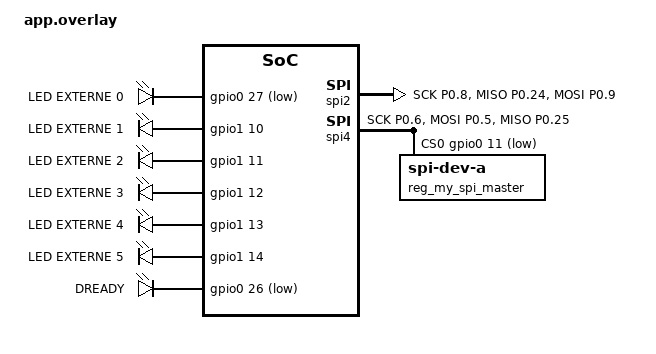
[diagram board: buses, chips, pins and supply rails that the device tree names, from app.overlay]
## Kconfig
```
#
# Copyright (c) 2018 Nordic Semiconductor
#
# SPDX-License-Identifier: LicenseRef-Nordic-5-Clause
#

source "Kconfig.zephyr"

menu "Nordic UART BLE GATT service sample"

config BT_NUS_THREAD_STACK_SIZE
	int "Thread stack size"
	default 1024
	help
	  Stack size used in each of the two threads

config BT_NUS_UART_BUFFER_SIZE
	int "UART payload buffer element size"
	default 40
	help
	  Size of the payload buffer in each RX and TX FIFO element

config BT_NUS_SECURITY_ENABLED
	bool "Enable security"
	default y
	select BT_SMP
	help
	  "Enable BLE security for the UART service"

config BT_NUS_UART_RX_WAIT_TIME
	int "Timeout for UART RX complete event"
	default 50
	help
	  Wait for RX complete event time in milliseconds

config BT_NUS_UART_ASYNC_ADAPTER
	bool "Enable UART async adapter"
	select SERIAL_SUPPORT_ASYNC
	help
	  Enables asynchronous adapter for UART drives that supports only
	  IRQ interface.
config COUNTER_RTC0
	bool
	default y if SOC_FAMILY_NRF

config COUNTER_SAM0_TC32
	bool
	default y if BOARD_ATSAMD20_XPRO
endmenu
```

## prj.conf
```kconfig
#
# Copyright (c) 2018 Nordic Semiconductor
#
# SPDX-License-Identifier: LicenseRef-Nordic-5-Clause
#
CONFIG_UART_ASYNC_API=y
CONFIG_NRFX_UARTE0=y
CONFIG_SERIAL=y

CONFIG_GPIO=y

# Make sure printk is printing to the UART console
CONFIG_CONSOLE=y
CONFIG_UART_CONSOLE=y

CONFIG_HEAP_MEM_POOL_SIZE=2048

CONFIG_BT=y
CONFIG_BT_PERIPHERAL=y
CONFIG_BT_DEVICE_NAME="Nordic_UART_Service"
CONFIG_BT_DEVICE_APPEARANCE=833
CONFIG_BT_MAX_CONN=1
CONFIG_BT_MAX_PAIRED=1

# Enable the NUS service
CONFIG_BT_NUS=y

# Enable bonding
CONFIG_BT_SETTINGS=y
CONFIG_FLASH=y
CONFIG_FLASH_PAGE_LAYOUT=y
CONFIG_FLASH_MAP=y
CONFIG_NVS=y
CONFIG_SETTINGS=y

# Enable DK LED and Buttons library
CONFIG_DK_LIBRARY=y

# This example requires more workqueue stack
CONFIG_SYSTEM_WORKQUEUE_STACK_SIZE=2048

# Config logger
CONFIG_LOG=y
CONFIG_USE_SEGGER_RTT=y
CONFIG_LOG_BACKEND_RTT=y
CONFIG_LOG_BACKEND_UART=n

CONFIG_ASSERT=y

# Enable the UART driver
CONFIG_UART_ASYNC_API=y
CONFIG_NRFX_UARTE0=y
CONFIG_SERIAL=y

CONFIG_GPIO=y

# Make sure printk is printing to the UART console
CONFIG_CONSOLE=y
CONFIG_UART_CONSOLE=y





# Enable DK LED and Buttons library
CONFIG_DK_LIBRARY=y

# This example requires more workqueue stack
CONFIG_SYSTEM_WORKQUEUE_STACK_SIZE=2048

# Config logger
CONFIG_LOG=y
CONFIG_USE_SEGGER_RTT=y
CONFIG_LOG_BACKEND_RTT=y
CONFIG_LOG_BACKEND_UART=n
CONFIG_LOG_PRINTK=n

CONFIG_ASSERT=y


# SPIM
CONFIG_SPI=y
CONFIG_NRFX_SPIM2=y

CONFIG_MAIN_STACK_SIZE=4096
```

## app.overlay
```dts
/*
 * Copyright (c) 2022 Nordic Semiconductor ASA
 *
 * SPDX-License-Identifier: LicenseRef-Nordic-5-Clause
 */

/ {
	chosen {
		nordic,nus-uart = &uart0;
	};
};

/ {
	aliases {
		ledext0 = &ledext0;
                ledext1 = &ledext1;
                ledext2 = &ledext2;
                ledext3 = &ledext3;
                ledext4 = &ledext4;
                ledext5 = &ledext5;
	};
};

/ {
	leds {
		  compatible = "gpio-leds";
		ledext0: led_ext0 {
			gpios = <&gpio0 27 GPIO_ACTIVE_LOW>; //d�finir le SPI reset sur le P1.02
			label = "LED EXTERNE 0";
					};
			ledext1: led_ext1 {
				gpios = <&gpio1 10 GPIO_ACTIVE_HIGH>; //d�finir le led externe 1 sur le P1.10
				label = "LED EXTERNE 1";
					};
	
			ledext2: led_ext2 {
				gpios = <&gpio1 11 GPIO_ACTIVE_HIGH>;
				label = "LED EXTERNE 2";
					};
	
			ledext3: led_ext3 {
				gpios = <&gpio1 12 GPIO_ACTIVE_HIGH>;
				label = "LED EXTERNE 3";
					};
	
			ledext4: led_ext4 {
				gpios = <&gpio1 13 GPIO_ACTIVE_HIGH>;
				label = "LED EXTERNE 4";
					};
	
			ledext5: led_ext5 {
				gpios = <&gpio1 14 GPIO_ACTIVE_HIGH>;
				label = "LED EXTERNE 5";
					};
			pinpwdn: pin_pwdn {
				gpios = <&gpio0 26 GPIO_ACTIVE_LOW>; //d�finir le power sur le P1.02
				label = "DREADY";
			};
		  };
	};


&pinctrl {
	spi_dummy: spi_dummy {
        group1 {
            psels = <NRF_PSEL(SPIM_SCK, 0, 8)>,
                <NRF_PSEL(SPIM_MISO, 0, 24)>,
                <NRF_PSEL(SPIM_MOSI, 0, 9)>;
        };
    };
	spi_dummy_sleep: spi_dummy_sleep {
        group1 {
            psels = <NRF_PSEL(SPIM_SCK, 0, 8)>,
                <NRF_PSEL(SPIM_MISO, 0, 24)>,
                <NRF_PSEL(SPIM_MOSI, 0, 9)>;
			low-power-enable;		
        };
    };
};

&spi2 {
	compatible = "nordic,nrf-spim";
	status = "okay";
	pinctrl-names = "default", "sleep";
	pinctrl-0 = <&spi_dummy>;
	pinctrl-1 = <&spi_dummy_sleep>;
};

&gpio0 {
	status = "okay";
	label = "GPIO_0";
};

&pinctrl {
	spi_master_default: spi_master_default {
		group1 {
			psels = <NRF_PSEL(SPIM_SCK, 0, 6)>,
					<NRF_PSEL(SPIM_MOSI, 0, 5)>,
					<NRF_PSEL(SPIM_MISO, 0, 25)>;
		};
	};

	spi_master_sleep: spi_master_sleep {
		group1 {
			psels = <NRF_PSEL(SPIM_SCK, 0, 6)>,
					<NRF_PSEL(SPIM_MOSI, 0, 5)>,
					<NRF_PSEL(SPIM_MISO, 0, 25)>;
			low-power-enable;
		};
	};
};

my_spi_master: &spi4 {
	compatible = "nordic,nrf-spim";
	status = "okay";
	pinctrl-0 = <&spi_master_default>;
	pinctrl-1 = <&spi_master_sleep>;
	cs-gpios = <&gpio0 11 GPIO_ACTIVE_LOW>;
	reg_my_spi_master:  spi-dev-a@0 {
		reg = <0>;
	};
};
```

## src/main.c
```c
/*
 * Copyright (c) 2018 Nordic Semiconductor ASA
 *
 * SPDX-License-Identifier: LicenseRef-Nordic-5-Clause
 */

/** @file
 *  @brief Nordic UART Bridge Service (NUS) sample
 */
#include "uart_async_adapter.h"

#include <zephyr/types.h>
#include <zephyr/kernel.h>
#include <zephyr/drivers/uart.h>
#include <zephyr/usb/usb_device.h>

#include <zephyr/device.h>
#include <zephyr/devicetree.h>
#include <zephyr/drivers/spi.h>
#include <soc.h>

#include <zephyr/bluetooth/bluetooth.h>
#include <zephyr/bluetooth/uuid.h>
#include <zephyr/bluetooth/gatt.h>
#include <zephyr/bluetooth/hci.h>

#include <bluetooth/services/nus.h>

#include <dk_buttons_and_leds.h>

#include <zephyr/settings/settings.h>

#include <stdio.h>

#include <zephyr/logging/log.h>

// SPI
#include "ADS1298.c"
const static struct device *dev0, *dev1;
#define LEDEXT0_NODE DT_ALIAS(ledext0)
#define LEDEXT1_NODE DT_ALIAS(ledext1) //led0
#define LEDEXT2_NODE DT_ALIAS(ledext2) //led1
#define LEDEXT3_NODE DT_ALIAS(ledext3) //led2
#define LEDEXT4_NODE DT_ALIAS(ledext4) 
#define LEDEXT5_NODE DT_ALIAS(ledext5) //led3
#define PIN4 DT_ALIAS(ledext1)
#define PIN1 DT_ALIAS(ledext2)
#define PIN2 DT_ALIAS(ledext3)
#define PIN3 DT_ALIAS(ledext5)
#if DT_NODE_HAS_STATUS(LEDEXT0_NODE, okay)
#define LEDEXT0	DT_GPIO_LABEL(LEDEXT0_NODE, gpios)
#define PIN0	DT_GPIO_PIN(LEDEXT0_NODE, gpios)
#define FLAGS0	DT_GPIO_FLAGS(LEDETX0_NODE, gpios)

static const struct gpio_dt_spec mosfet1 = GPIO_DT_SPEC_GET(PIN4, gpios);
static const struct gpio_dt_spec mosfet2 = GPIO_DT_SPEC_GET(PIN1, gpios);
static const struct gpio_dt_spec mosfet3 = GPIO_DT_SPEC_GET(PIN2, gpios);
static const struct gpio_dt_spec mosfet4 = GPIO_DT_SPEC_GET(PIN3, gpios);
#else
/* Sinon, une erreur de construction signifie que la carte n'est pas configur?e pour clignoter une LED.*/
#error "Unsupported board: ledext0 devicetree alias is not defined"
#define LEDEXT0	""
#define PIN0	0
#define FLAGS0	0
#endif

#define MY_SPI_MASTER DT_NODELABEL(my_spi_master)
#define SPI1_NODE           DT_NODELABEL(my_spi_master)


#define LOG_MODULE_NAME peripheral_uart
LOG_MODULE_REGISTER(LOG_MODULE_NAME);

#define STACKSIZE CONFIG_BT_NUS_THREAD_STACK_SIZE
#define PRIORITY 7

#define DEVICE_NAME CONFIG_BT_DEVICE_NAME
#define DEVICE_NAME_LEN	(sizeof(DEVICE_NAME) - 1)

#define RUN_STATUS_LED DK_LED1
#define RUN_LED_BLINK_INTERVAL 1000

#define CON_STATUS_LED DK_LED2

#define KEY_PASSKEY_ACCEPT DK_BTN1_MSK
#define KEY_PASSKEY_REJECT DK_BTN2_MSK

#define UART_BUF_SIZE CONFIG_BT_NUS_UART_BUFFER_SIZE
#define UART_WAIT_FOR_BUF_DELAY K_MSEC(50)
#define UART_WAIT_FOR_RX CONFIG_BT_NUS_UART_RX_WAIT_TIME

static K_SEM_DEFINE(ble_init_ok, 0, 1);

static struct bt_conn *current_conn;
static struct bt_conn *auth_conn;

static const struct device *uart = DEVICE_DT_GET(DT_CHOSEN(nordic_nus_uart));
static struct k_work_delayable uart_work;

struct uart_data_t {
	void *fifo_reserved;
	uint8_t data[UART_BUF_SIZE];
	uint16_t len;
};

static K_FIFO_DEFINE(fifo_uart_tx_data);
static K_FIFO_DEFINE(fifo_uart_rx_data);

static const struct bt_data ad[] = {
	BT_DATA_BYTES(BT_DATA_FLAGS, (BT_LE_AD_GENERAL | BT_LE_AD_NO_BREDR)),
	BT_DATA(BT_DATA_NAME_COMPLETE, DEVICE_NAME, DEVICE_NAME_LEN),
};

static const struct bt_data sd[] = {
	BT_DATA_BYTES(BT_DATA_UUID128_ALL, BT_UUID_NUS_VAL),
};

#if CONFIG_BT_NUS_UART_ASYNC_ADAPTER
UART_ASYNC_ADAPTER_INST_DEFINE(async_adapter);
#else
static const struct device *const async_adapter;
#endif

static void uart_cb(const struct device *dev, struct uart_event *evt, void *user_data)
{
	ARG_UNUSED(dev);

	static size_t aborted_len;
	struct uart_data_t *buf;
	static uint8_t *aborted_buf;
	static bool disable_req;

	switch (evt->type) {
	case UART_TX_DONE:
		LOG_DBG("UART_TX_DONE");
		if ((evt->data.tx.len == 0) ||
		    (!evt->data.tx.buf)) {
			return;
		}

		if (aborted_buf) {
			buf = CONTAINER_OF(aborted_buf, struct uart_data_t,
					   data);
			aborted_buf = NULL;
			aborted_len = 0;
		} else {
			buf = CONTAINER_OF(evt->data.tx.buf, struct uart_data_t,
					   data);
		}

		k_free(buf);

		buf = k_fifo_get(&fifo_uart_tx_data, K_NO_WAIT);
		if (!buf) {
			return;
		}

		if (uart_tx(uart, buf->data, buf->len, SYS_FOREVER_MS)) {
			LOG_WRN("Failed to send data over UART");
		}

		break;

	case UART_RX_RDY:
		LOG_DBG("UART_RX_RDY");
		buf = CONTAINER_OF(evt->data.rx.buf, struct uart_data_t, data);
		buf->len += evt->data.rx.len;

		if (disable_req) {
			return;
		}

		if ((evt->data.rx.buf[buf->len - 1] == '\n') ||
		    (evt->data.rx.buf[buf->len - 1] == '\r')) {
			disable_req = true;
			uart_rx_disable(uart);
		}

		break;

	case UART_RX_DISABLED:
		LOG_DBG("UART_RX_DISABLED");
		disable_req = false;

		buf = k_malloc(sizeof(*buf));
		if (buf) {
			buf->len = 0;
		} else {
			LOG_WRN("Not able to allocate UART receive buffer");
			k_work_reschedule(&uart_work, UART_WAIT_FOR_BUF_DELAY);
			return;
		}

		uart_rx_enable(uart, buf->data, sizeof(buf->data),
			       UART_WAIT_FOR_RX);

		break;

	case UART_RX_BUF_REQUEST:
		LOG_DBG("UART_RX_BUF_REQUEST");
		buf = k_malloc(sizeof(*buf));
		if (buf) {
			buf->len = 0;
			uart_rx_buf_rsp(uart, buf->data, sizeof(buf->data));
		} else {
			LOG_WRN("Not able to allocate UART receive buffer");
		}

		break;

	case UART_RX_BUF_RELEASED:
		LOG_DBG("UART_RX_BUF_RELEASED");
		buf = CONTAINER_OF(evt->data.rx_buf.buf, struct uart_data_t,
				   data);

		if (buf->len > 0) {
			k_fifo_put(&fifo_uart_rx_data, buf);
		} else {
			k_free(buf);
		}

		break;

	case UART_TX_ABORTED:
		LOG_DBG("UART_TX_ABORTED");
		if (!aborted_buf) {
			aborted_buf = (uint8_t *)evt->data.tx.buf;
		}

		aborted_len += evt->data.tx.len;
		buf = CONTAINER_OF(aborted_buf, struct uart_data_t,
				   data);

		uart_tx(uart, &buf->data[aborted_len],
			buf->len - aborted_len, SYS_FOREVER_MS);

		break;

	default:
		break;
	}
}

static void uart_work_handler(struct k_work *item)
{
	struct uart_data_t *buf;

	buf = k_malloc(sizeof(*buf));
	if (buf) {
		buf->len = 0;
	} else {
		LOG_WRN("Not able to allocate UART receive buffer");
		k_work_reschedule(&uart_work, UART_WAIT_FOR_BUF_DELAY);
		return;
	}

	uart_rx_enable(uart, buf->data, sizeof(buf->data), UART_WAIT_FOR_RX);
}

static bool uart_test_async_api(const struct device *dev)
{
	const struct uart_driver_api *api =
			(const struct uart_driver_api *)dev->api;

	return (api->callback_set != NULL);
}

static int uart_init(void)
{
	int err;
	int pos;
	struct uart_data_t *rx;
	struct uart_data_t *tx;

	if (!device_is_ready(uart)) {
		return -ENODEV;
	}

	if (IS_ENABLED(CONFIG_USB_DEVICE_STACK)) {
		err = usb_enable(NULL);
		if (err && (err != -EALREADY)) {
			LOG_ERR("Failed to enable USB");
			return err;
		}
	}

	rx = k_malloc(sizeof(*rx));
	if (rx) {
		rx->len = 0;
	} else {
		return -ENOMEM;
	}

	k_work_init_delayable(&uart_work, uart_work_handler);


	if (IS_ENABLED(CONFIG_BT_NUS_UART_ASYNC_ADAPTER) && !uart_test_async_api(uart)) {
		/* Implement API adapter */
		uart_async_adapter_init(async_adapter, uart);
		uart = async_adapter;
	}

	err = uart_callback_set(uart, uart_cb, NULL);
	if (err) {
		k_free(rx);
		LOG_ERR("Cannot initialize UART callback");
		return err;
	}

	if (IS_ENABLED(CONFIG_UART_LINE_CTRL)) {
		LOG_INF("Wait for DTR");
		while (true) {
			uint32_t dtr = 0;

			uart_line_ctrl_get(uart, UART_LINE_CTRL_DTR, &dtr);
			if (dtr) {
				break;
			}
			/* Give CPU resources to low priority threads. */
			k_sleep(K_MSEC(100));
		}
		LOG_INF("DTR set");
		err = uart_line_ctrl_set(uart, UART_LINE_CTRL_DCD, 1);
		if (err) {
			LOG_WRN("Failed to set DCD, ret code %d", err);
		}
		err = uart_line_ctrl_set(uart, UART_LINE_CTRL_DSR, 1);
		if (err) {
			LOG_WRN("Failed to set DSR, ret code %d", err);
		}
	}

	tx = k_malloc(sizeof(*tx));

	if (tx) {
		pos = snprintf(tx->data, sizeof(tx->data),
			       "Starting Nordic UART service example\r\n");

		if ((pos < 0) || (pos >= sizeof(tx->data))) {
			k_free(rx);
			k_free(tx);
			LOG_ERR("snprintf returned %d", pos);
			return -ENOMEM;
		}

		tx->len = pos;
	} else {
		k_free(rx);
		return -ENOMEM;
	}

	err = uart_tx(uart, tx->data, tx->len, SYS_FOREVER_MS);
	if (err) {
		k_free(rx);
		k_free(tx);
		LOG_ERR("Cannot display welcome message (err: %d)", err);
		return err;
	}

	err = uart_rx_enable(uart, rx->data, sizeof(rx->data), 50);
	if (err) {
		LOG_ERR("Cannot enable uart reception (err: %d)", err);
		/* Free the rx buffer only because the tx buffer will be handled in the callback */
		k_free(rx);
	}

	return err;
}

static void connected(struct bt_conn *conn, uint8_t err)
{
	char addr[BT_ADDR_LE_STR_LEN];

	if (err) {
		LOG_ERR("Connection failed (err %u)", err);
		return;
	}

	bt_addr_le_to_str(bt_conn_get_dst(conn), addr, sizeof(addr));
	LOG_INF("Connected %s", addr);

	current_conn = bt_conn_ref(conn);

	dk_set_led_on(CON_STATUS_LED);
}

static void disconnected(struct bt_conn *conn, uint8_t reason)
{
	char addr[BT_ADDR_LE_STR_LEN];

	bt_addr_le_to_str(bt_conn_get_dst(conn), addr, sizeof(addr));

	LOG_INF("Disconnected: %s (reason %u)", addr, reason);

	if (auth_conn) {
		bt_conn_unref(auth_conn);
		auth_conn = NULL;
	}

	if (current_conn) {
		bt_conn_unref(current_conn);
		current_conn = NULL;
		dk_set_led_off(CON_STATUS_LED);
	}
}

#ifdef CONFIG_BT_NUS_SECURITY_ENABLED
static void security_changed(struct bt_conn *conn, bt_security_t level,
			     enum bt_security_err err)
{
	char addr[BT_ADDR_LE_STR_LEN];

	bt_addr_le_to_str(bt_conn_get_dst(conn), addr, sizeof(addr));

	if (!err) {
		LOG_INF("Security changed: %s level %u", addr, level);
	} else {
		LOG_WRN("Security failed: %s level %u err %d", addr,
			level, err);
	}
}
#endif

BT_CONN_CB_DEFINE(conn_callbacks) = {
	.connected    = connected,
	.disconnected = disconnected,
#ifdef CONFIG_BT_NUS_SECURITY_ENABLED
	.security_changed = security_changed,
#endif
};

#if defined(CONFIG_BT_NUS_SECURITY_ENABLED)
static void auth_passkey_display(struct bt_conn *conn, unsigned int passkey)
{
	char addr[BT_ADDR_LE_STR_LEN];

	bt_addr_le_to_str(bt_conn_get_dst(conn), addr, sizeof(addr));

	LOG_INF("Passkey for %s: %06u", addr, passkey);
}

static void auth_passkey_confirm(struct bt_conn *conn, unsigned int passkey)
{
	char addr[BT_ADDR_LE_STR_LEN];

	auth_conn = bt_conn_ref(conn);

	bt_addr_le_to_str(bt_conn_get_dst(conn), addr, sizeof(addr));

	LOG_INF("Passkey for %s: %06u", addr, passkey);
	LOG_INF("Press Button 1 to confirm, Button 2 to reject.");
}


static void auth_cancel(struct bt_conn *conn)
{
	char addr[BT_ADDR_LE_STR_LEN];

	bt_addr_le_to_str(bt_conn_get_dst(conn), addr, sizeof(addr));

	LOG_INF("Pairing cancelled: %s", addr);
}


static void pairing_complete(struct bt_conn *conn, bool bonded)
{
	char addr[BT_ADDR_LE_STR_LEN];

	bt_addr_le_to_str(bt_conn_get_dst(conn), addr, sizeof(addr));

	LOG_INF("Pairing completed: %s, bonded: %d", addr, bonded);
}


static void pairing_failed(struct bt_conn *conn, enum bt_security_err reason)
{
	char addr[BT_ADDR_LE_STR_LEN];

	bt_addr_le_to_str(bt_conn_get_dst(conn), addr, sizeof(addr));

	LOG_INF("Pairing failed conn: %s, reason %d", addr, reason);
}


static struct bt_conn_auth_cb conn_auth_callbacks = {
	.passkey_display = auth_passkey_display,
	.passkey_confirm = auth_passkey_confirm,
	.cancel = auth_cancel,
};

static struct bt_conn_auth_info_cb conn_auth_info_callbacks = {
	.pairing_complete = pairing_complete,
	.pairing_failed = pairing_failed
};
#else
static struct bt_conn_auth_cb conn_auth_callbacks;
static struct bt_conn_auth_info_cb conn_auth_info_callbacks;
#endif

static void bt_receive_cb(struct bt_conn *conn, const uint8_t *const data,
			  uint16_t len)
{
	int err;
	char addr[BT_ADDR_LE_STR_LEN] = {0};

	bt_addr_le_to_str(bt_conn_get_dst(conn), addr, ARRAY_SIZE(addr));

	LOG_INF("Received data from: %s", addr);

	for (uint16_t pos = 0; pos != len;) {
		struct uart_data_t *tx = k_malloc(sizeof(*tx));

		if (!tx) {
			LOG_WRN("Not able to allocate UART send data buffer");
			return;
		}

		/* Keep the last byte of TX buffer for potential LF char. */
		size_t tx_data_size = sizeof(tx->data) - 1;

		if ((len - pos) > tx_data_size) {
			tx->len = tx_data_size;
		} else {
			tx->len = (len - pos);
		}

		memcpy(tx->data, &data[pos], tx->len);

		pos += tx->len;

		/* Append the LF character when the CR character triggered
		 * transmission from the peer.
		 */
		if ((pos == len) && (data[len - 1] == '\r')) {
			tx->data[tx->len] = '\n';
			tx->len++;
		}

		err = uart_tx(uart, tx->data, tx->len, SYS_FOREVER_MS);
		if (err) {
			k_fifo_put(&fifo_uart_tx_data, tx);
		}
	}
}

static struct bt_nus_cb nus_cb = {
	.received = bt_receive_cb,
};

void error(void)
{
	dk_set_leds_state(DK_ALL_LEDS_MSK, DK_NO_LEDS_MSK);

	while (true) {
		/* Spin for ever */
		k_sleep(K_MSEC(1000));
	}
}

#ifdef CONFIG_BT_NUS_SECURITY_ENABLED
static void num_comp_reply(bool accept)
{
	if (accept) {
		bt_conn_auth_passkey_confirm(auth_conn);
		LOG_INF("Numeric Match, conn %p", (void *)auth_conn);
	} else {
		bt_conn_auth_cancel(auth_conn);
		LOG_INF("Numeric Reject, conn %p", (void *)auth_conn);
	}

	bt_conn_unref(auth_conn);
	auth_conn = NULL;
}

void button_changed(uint32_t button_state, uint32_t has_changed)
{
	uint32_t buttons = button_state & has_changed;

	if (auth_conn) {
		if (buttons & KEY_PASSKEY_ACCEPT) {
			num_comp_reply(true);
		}

		if (buttons & KEY_PASSKEY_REJECT) {
			num_comp_reply(false);
		}
	}
}
#endif /* CONFIG_BT_NUS_SECURITY_ENABLED */

static void configure_gpio(void)
{
	int err;

#ifdef CONFIG_BT_NUS_SECURITY_ENABLED
	err = dk_buttons_init(button_changed);
	if (err) {
		LOG_ERR("Cannot init buttons (err: %d)", err);
	}
#endif /* CONFIG_BT_NUS_SECURITY_ENABLED */

	err = dk_leds_init();
	if (err) {
		LOG_ERR("Cannot init LEDs (err: %d)", err);
	}
}

void reset_ADS1298()
{
        int err = 0; 
        static int ret0;
        // lier les leds avec les p�riph�riques
        dev0 = device_get_binding(LEDEXT0);

        if (dev0 == NULL ){
                LOG_INF("Error: cannot find reset pin of SPI\n");
                return;
        }
       
        // configurer les pins avec les p�riph�riques, r�ussi si le retour est 0
        ret0 = gpio_pin_configure(dev0, PIN0, GPIO_OUTPUT_ACTIVE | FLAGS0);
        if (ret0 < 0 ){
                LOG_INF("Error: pin reset SPI can't be configured\n");
                return;
        }
        gpio_pin_set(dev0, PIN0, 1);   
        k_usleep(10);  // wait 18 * TCLK = 18 * 514ns 
        gpio_pin_set(dev0, PIN0, 0);
        k_msleep(500); 
        gpio_pin_set(dev0, PIN0, 1);
        k_msleep(500);
}

void config_ADS1298()
{
        // Ajouter les fonction pour configurer ADS1298 
		ads1298_write_register(ADS129X_REG_CONFIG3, 0xE0); // internal power ref = 4 V
        ads1298_write_register(ADS129X_REG_CONFIG1, 0xC3); // HR mode + 500 SPS
        ads1298_write_register(ADS129X_REG_CONFIG2, 0x00); // default register
        ads1298_write_register(ADS129X_REG_CONFIG4, 0x00); // default register



        // GAIN_ONE = 0x10 pour fixer le gain de PGA � 1 ( PGA = amplificateur � gain programmable )
        ads1298_write_register(ADS129X_REG_CH1SET, GAIN_ONE);
        ads1298_write_register(ADS129X_REG_CH2SET, TURN_OFF_CHANNEL);
        ads1298_write_register(ADS129X_REG_CH3SET, GAIN_ONE);
        ads1298_write_register(ADS129X_REG_CH4SET, TURN_OFF_CHANNEL);

		ads1298_write_register(ADS129X_REG_CH5SET, TURN_OFF_CHANNEL);
        ads1298_write_register(ADS129X_REG_CH6SET, TURN_OFF_CHANNEL);
        ads1298_write_register(ADS129X_REG_CH7SET, GAIN_ONE);
        ads1298_write_register(ADS129X_REG_CH8SET, TURN_OFF_CHANNEL);

}


void main(void)
{
	int blink_status = 0;
	int err = 0;

	err = uart_init();
	if (err) {
		error();
	}

	if (IS_ENABLED(CONFIG_BT_NUS_SECURITY_ENABLED)) {
		err = bt_conn_auth_cb_register(&conn_auth_callbacks);
		if (err) {
			printk("Failed to register authorization callbacks.\n");
			return;
		}

		err = bt_conn_auth_info_cb_register(&conn_auth_info_callbacks);
		if (err) {
			printk("Failed to register authorization info callbacks.\n");
			return;
		}
	}

	err = bt_enable(NULL);
	if (err) {
		error();
	}

	LOG_INF("Bluetooth initialized");

	k_sem_give(&ble_init_ok);

	if (IS_ENABLED(CONFIG_SETTINGS)) {
		settings_load();
	}

	err = bt_nus_init(&nus_cb);
	if (err) {
		LOG_ERR("Failed to initialize UART service (err: %d)", err);
		return;
	}

	err = bt_le_adv_start(BT_LE_ADV_CONN, ad, ARRAY_SIZE(ad), sd,
			      ARRAY_SIZE(sd));
	if (err) {
		LOG_ERR("Advertising failed to start (err %d)", err);
		return;
	}

	LOG_INF("Advertising successfully started");
		static int ret1;
	dev1 = device_get_binding("GPIO_0");
	if (dev1 == NULL) {
		printk("Error: cannot find one or more devices\n"); 
		return;
	}
	ret1 = gpio_pin_configure(dev1, 26, GPIO_OUTPUT_ACTIVE | 0);
	if (ret1 < 0) {
		printk("Error: One or more leds can't confiigure\n");
	return;
	}
	k_usleep(1000000);

		///////////////////// NIRS ////////////////////////////////////////////
	printk("OK2\n");
	int retnirs1 = gpio_pin_configure_dt(&mosfet1, GPIO_OUTPUT_ACTIVE); // marche pas
	int retnirs2 = gpio_pin_configure_dt(&mosfet2, GPIO_OUTPUT_ACTIVE); // haut gauche
	int retnirs3 = gpio_pin_configure_dt(&mosfet3, GPIO_OUTPUT_ACTIVE); // marche pas
	int retnirs4 = gpio_pin_configure_dt(&mosfet4, GPIO_OUTPUT_ACTIVE); // haut droite



	struct device * spi1_dev = DEVICE_DT_GET(MY_SPI_MASTER);
	if(!device_is_ready(spi1_dev)) {
		printk("SPI master device not ready!\n");
	}
	struct spi_cs_control spim_cs = {
		.gpio = SPI_CS_GPIOS_DT_SPEC_GET(DT_NODELABEL(reg_my_spi_master)),
		.delay = 0,
	};

    struct spi_config spi_cfg = {
        .frequency = 2000000,
        .operation = SPI_WORD_SET(8) | SPI_TRANSFER_MSB |
				 SPI_MODE_CPOL | SPI_MODE_CPHA,
		.slave = 0,
		.cs = &spim_cs,
    };
	uint8_t   spi_tx_buf[2]; // spitx buffer
	uint8_t   spi_rx_buf[1]; // spirx buffer
	struct spi_buf tx_buf_arr = {.buf = spi_tx_buf, .len=sizeof(spi_tx_buf)};
    struct spi_buf_set tx = {.buffers = &tx_buf_arr, .count = 1};
	struct spi_buf rx_buf_arr = {.buf = spi_rx_buf, .len = sizeof(spi_rx_buf)};
    struct spi_buf_set rx  = {.buffers = &rx_buf_arr, .count = 1};
	
	gpio_pin_set_dt(&mosfet1, 0);
	k_sleep(K_MSEC(100));
	gpio_pin_set_dt(&mosfet2, 0);
	k_sleep(K_MSEC(100));
	gpio_pin_set_dt(&mosfet3, 0);
	k_sleep(K_MSEC(100));
	gpio_pin_set_dt(&mosfet4, 0);
	k_sleep(K_MSEC(10));

	spi_tx_buf[0] = 2;
	spi_tx_buf[1] = 20;
	spi_write(spi1_dev,&spi_cfg,&tx);
	k_sleep(K_MSEC(100));
	spi_tx_buf[0] = 1;
	spi_tx_buf[1] = 20;
	spi_write(spi1_dev,&spi_cfg,&tx);
	k_sleep(K_MSEC(100));
	spi_tx_buf[0] = 3;
	spi_tx_buf[1] = 20;
	spi_write(spi1_dev,&spi_cfg,&tx);
	k_sleep(K_MSEC(100));
	spi_tx_buf[0] = 0;
	spi_tx_buf[1] = 20;
	spi_write(spi1_dev,&spi_cfg,&tx);
	k_sleep(K_MSEC(100));


	///////////////////// NIRS ////////////////////////////////////////////
	k_usleep(1000000);

	// initialisation ADS
	LOG_INF("ADS_init : %s\n", ADS1298_init() ? "OK" : "FAIL");
	k_msleep(10);
		// eteindre puis rallumer l'ads
	LOG_INF("ADS1298_power_off\n");
	gpio_pin_set(dev1, 26, 0);
	k_msleep(1000);
	gpio_pin_set(dev1, 26, 1);
	LOG_INF("ADS Powered ON\n");
	k_msleep(1000);
	// Faire appel � la fonction reset_ADS1298() pour faire le reset.
	reset_ADS1298();
	LOG_INF("ADS1298_reset success\n");
	k_usleep(9); // 18 * 514ns
	err = ADS1298_send_wakeup();
	LOG_INF("HERE\n");
	if (err == true){LOG_INF("ADS1298_send_wakeup success\n");}
	else{LOG_INF("ADS1298_send_wakeup failed \n");}
	k_msleep(1000);

	// cette commande est necessaire avant de lire des registre datasheet ADS1298 page 64 
	err = ADS1298_send_stop_read_continuous();
	if (err == true){LOG_INF("ADS1298_send_stop_read_continuous success\n");}
	else{LOG_INF("ADS1298_send_stop_read_continuous failed \n");}
	k_msleep(500);

	// lire le registre ID:
	uint8_t regid = ads1298_read_ID();
	LOG_INF("ADS1298_ID %x\n", regid); // ID = 0x92 datasheet page 66
	k_msleep(1000);

	// Configurer ADS1298
	config_ADS1298 ();
	LOG_INF("ADS1298_config success\n");
	//config test signal
/* 	gpio_pin_set_dt(&mosfet3, 1);
	gpio_pin_set_dt(&mosfet4, 1); */
	

/* 	for (;;) {
		err = ADS1298_send_start();
		k_usleep(350);  // 584*periode clk ads
		
		// envoyer opcode RDATA et recevoir les donn�es:
		err = ADS1298_send_read_data();
		k_usleep(10);  // 8*TSCLK
		ADS1298_receive_data();
		k_usleep(110);
		char val[10];
		//convert rx_buffer to int
		int data = (rx_buffer[3] << 16 | rx_buffer[4] << 8 | rx_buffer[5]);
		sprintf(val, "%d\n", data);
		printk("%d\n", data);
		//envoyer les donn�es par bluetooth
		if (bt_nus_send(current_conn, val, sizeof(val))) {
			LOG_WRN("Failed to send data over BLE connection");
		}
		else{
			LOG_INF("Data %d sent over BLE connection", data);
		}
		k_msleep(5);
	} */
	int val[2];
	uint8_t data2[12];
  	for (;;){
		
		// allumer la led
		gpio_pin_set_dt(&mosfet4, 1);	//t4 en bas à droite
		k_msleep(10);
		err = ADS1298_send_start();
		k_usleep(350);  // 584*periode clk ads
		// envoyer opcode RDATA et recevoir les donn�es:
		err = ADS1298_send_read_data();
		k_usleep(10);  // 8*TSCLK
		ADS1298_receive_data();
		k_usleep(110);
		data2[9] = rx_buffer[21];
		data2[10] = rx_buffer[22];
		data2[11] = rx_buffer[23];
		k_usleep(100);

		// eteindre la led
		gpio_pin_set_dt(&mosfet4, 0);
		//allumer la led
		gpio_pin_set_dt(&mosfet3, 1);	//t1 en bas à gauche
		k_msleep(10);
		err = ADS1298_send_start();
		k_usleep(350);  // 584*periode clk ads
		// envoyer opcode RDATA et recevoir les donn�es:
		err = ADS1298_send_read_data();
		k_usleep(10);  // 8*TSCLK
		ADS1298_receive_data();
		k_usleep(110);
		data2[0] = rx_buffer[21];
		data2[1] = rx_buffer[22];
		data2[2] = rx_buffer[23];
		// eteindre la led
		gpio_pin_set_dt(&mosfet3, 0);
		k_usleep(100);

		
		// allumer la led
		gpio_pin_set_dt(&mosfet2, 1);	//t2 en haut à droite
		k_msleep(10);
		err = ADS1298_send_start();
		k_usleep(350);  // 584*periode clk ads
		// envoyer opcode RDATA et recevoir les donn�es:
		err = ADS1298_send_read_data();
		k_usleep(10);  // 8*TSCLK
		ADS1298_receive_data();
		k_usleep(110);
		data2[6] = rx_buffer[21];
		data2[7] = rx_buffer[22];
		data2[8] = rx_buffer[23];
		// eteindre la led
		gpio_pin_set_dt(&mosfet2, 0);
		k_usleep(100);


		// allumer la led
		gpio_pin_set_dt(&mosfet1, 1);	//t3 en haut à gauche
		k_msleep(10);
		err = ADS1298_send_start();
		k_usleep(350);  // 584*periode clk ads
		// envoyer opcode RDATA et recevoir les donn�es:
		err = ADS1298_send_read_data();
		k_usleep(10);  // 8*TSCLK
		ADS1298_receive_data();
		k_usleep(110);
		data2[3] = rx_buffer[21];
		data2[4] = rx_buffer[22];
		data2[5] = rx_buffer[23];
		// eteindre la led
		gpio_pin_set_dt(&mosfet1, 0);
		k_usleep(100);


		//envoyer les donn�es par bluetooth
		printk("LED 1 : %d\n", (data2[0] << 16 | data2[1] << 8 | data2[2]));
		printk("LED 2 : %d\n", (data2[3] << 16 | data2[4] << 8 | data2[5]));
		printk("LED 3 : %d\n", (data2[6] << 16 | data2[7] << 8 | data2[8]));
		printk("LED 4 : %d\n", (data2[9] << 16 | data2[10] << 8 | data2[11]));
		if (bt_nus_send(current_conn, data2, sizeof(data2))) {
			LOG_WRN("Failed to send data over BLE connection");
		}
		else{
			LOG_INF("Data %d sent over BLE connection", data2);
		}
		k_msleep(1);
	}  
}

void ble_write_thread(void)
{
	/* Don't go any further until BLE is initialized */
	k_sem_take(&ble_init_ok, K_FOREVER);
	
	for (;;) {
		/* Wait indefinitely for data to be sent over bluetooth */
		
	}
}

//K_THREAD_DEFINE(ble_write_thread_id, STACKSIZE, ble_write_thread, NULL, NULL,
//		NULL, PRIORITY, 0, 0);
```

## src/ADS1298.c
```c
#include "ADS1298.h"
#include <nrfx_spim.h>
#include <zephyr/device.h>
#include <zephyr/devicetree.h>
#include <zephyr/drivers/gpio.h>

#define POLL_DREADY

#ifndef POLL_DREADY
    #include <nrfx_gpiote.h>
#endif


volatile enum state_t {idle, send_command, receive_data, read_data, processing_data} state = idle;
bool new_data_available = false;

static const nrfx_spim_t m_spi = NRFX_SPIM_INSTANCE(SPI_INSTANCE);
volatile uint8_t rx_buffer[27], tx_buffer[8];
uint8_t sample_number = 0;

const struct device *gpio_dev_0;

inline int32_t buffer_to_channel(uint8_t id);
bool ADS1298_receive_data();
ADS1298_data_t ADS1298_convert_data();

#ifndef POLL_DREADY
    void data_ready_handler(nrfx_gpiote_pin_t pin, nrf_gpiote_polarity_t action);
#endif

void spim_event_handler(nrfx_spim_evt_t const *p_event, void *p_context) 
{
    switch (p_event->type)
    {
    case NRFX_SPIM_EVENT_DONE:
        if(state == receive_data) {
            new_data_available = true;
        } 
        state = idle;
        break;
    default:
        break;
    }
    return;
}

#ifndef POLL_DREADY
void data_ready_handler(nrfx_gpiote_pin_t pin, nrf_gpiote_polarity_t action) {
    if(pin == PIN_DRDY && action == NRF_GPIOTE_POLARITY_HITOLO) {
        ADS1298_receive_data();
    }
}
#endif
#define APP_SPIM_CS_PIN (2)
#define APP_SPIM_SCK_PIN (8)
#define APP_SPIM_MISO_PIN (24)
#define APP_SPIM_MOSI_PIN (9)
bool ADS1298_init() {
    nrfx_spim_config_t config = NRFX_SPIM_DEFAULT_CONFIG(APP_SPIM_SCK_PIN, APP_SPIM_MOSI_PIN, APP_SPIM_MISO_PIN, NRFX_SPIM_PIN_NOT_USED);
    config.frequency = NRF_SPIM_FREQ_2M;
    config.ss_active_high = false;
    config.bit_order = SPIM_CONFIG_ORDER_MsbFirst;
    config.mode = NRF_SPIM_MODE_1;
    
    //nrfx_spim_uninit(&m_spi);
    int err = nrfx_spim_init(&m_spi, &config, spim_event_handler, NULL);

     if(err == NRFX_SUCCESS) {
    } else {
        return false;
    }
    
    gpio_dev_0 = device_get_binding("GPIO_0");

    if (gpio_dev_0 == NULL) {
		return false;
	}

    #ifdef POLL_DREADY
        err = gpio_pin_configure(gpio_dev_0, 7, GPIO_INPUT);
    #else
        // Interrupt
        if(!nrfx_gpiote_is_init()) {
            err = nrfx_gpiote_init(6);

            if(err == NRFX_SUCCESS) {
            } else {
                return false;
            }
        }

        nrfx_gpiote_in_config_t irq_config = NRFX_GPIOTE_CONFIG_IN_SENSE_TOGGLE(false ); // TODO: what is argument?
        err = nrfx_gpiote_in_init(PIN_DRDY, &irq_config, data_ready_handler);

        if(err == NRFX_SUCCESS) {
        } else {
            return false;
        }
    #endif

    #ifndef POLL_DREADY
        nrfx_gpiote_in_event_enable(PIN_DRDY, true);
    #endif

    return true; 
}

void poll_dready() {
    if(gpio_pin_get(gpio_dev_0, 7) == 0) {
        ADS1298_receive_data();
    }
}

int spi_transfer(const nrfx_spim_xfer_desc_t *desc) {
    return nrfx_spim_xfer(&m_spi, desc, 0);
}

bool ADS1298_send_command(uint8_t command) {
    if(state == idle) {
        nrfx_spim_xfer_desc_t spim_xfer_desc = NRFX_SPIM_XFER_TX(tx_buffer, 1);
        spim_xfer_desc.p_rx_buffer = NULL;
        spim_xfer_desc.rx_length = 0;
        tx_buffer[0] = command;
        state = send_command;

        int err = spi_transfer(&spim_xfer_desc);
        if(err != NRFX_SUCCESS) {
        }
        return true;
    } else {
        return false;
    }
}

/* function de read bloquant */
uint8_t ADS1298_read_data() {
    if(state == idle) {
        state = read_data;
        new_data_available = false;
        nrfx_spim_xfer_desc_t spim_xfer_desc = NRFX_SPIM_XFER_RX(rx_buffer, 1);
        spi_transfer(&spim_xfer_desc);
        while(state != idle)
        {
          __WFE();
        }
        return rx_buffer[0];
    } else {
        return ;
    }
}

bool ADS1298_receive_data() {
    if(state == idle) {
        state = receive_data;
        new_data_available = false;
        nrfx_spim_xfer_desc_t spim_xfer_desc = NRFX_SPIM_XFER_RX(rx_buffer, 27);
        spi_transfer(&spim_xfer_desc);
        return true;
    } else {
        return false;
    }
}

bool ADS1298_poll_new_data(ADS1298_data_t *data) {
    if(new_data_available) {
        new_data_available = false;
        state = processing_data;

        *data = ADS1298_convert_data();
       
        state = idle;
        return true;
    } else {
        return false;
    }
}

ADS1298_data_t ADS1298_convert_data() {
    /* Data structure: */
    /* 24 bit status */
    /*  - 1100 + LOFF_STATP(8 bit) + LOFF_STATN(8 bit) + GPIO(4 bit) */
    /* 8ch * 24 bits data */

    ADS1298_data_t data;
    
    data.lead_off_positive = rx_buffer[0] << 4;
    data.lead_off_positive |= (rx_buffer[1] & 0b11110000) >> 4;
    data.lead_off_negative = rx_buffer[1] << 4;
    data.lead_off_negative |= (rx_buffer[2] & 0b11110000) >> 4;

    data.gpio_0 = rx_buffer[2] & 0b00001000;
    data.gpio_1 = rx_buffer[2] & 0b00000100;
    data.gpio_2 = rx_buffer[2] & 0b00000010;
    data.gpio_3 = rx_buffer[2] & 0b00000001;

    data.channgel_0 = buffer_to_channel(0);
    data.channgel_1 = buffer_to_channel(1);
    data.channgel_2 = buffer_to_channel(2);
    data.channgel_3 = buffer_to_channel(3);
    data.channgel_4 = buffer_to_channel(4);
    data.channgel_5 = buffer_to_channel(5);
    data.channgel_6 = buffer_to_channel(6);
    data.channgel_7 = buffer_to_channel(7);

    return data;
}

inline int32_t buffer_to_channel(uint8_t id) {
    return rx_buffer[3 + id] << 16 | (rx_buffer[3 + id + 1] << 8) | rx_buffer[3 + id + 2];
}

bool get_spi_busy() {
    return state != idle;
}



uint8_t ads1298_read_ID()             
{
                ADS1298_send_command(0x20);// OPCODE1 = 0x20 = 0b0010 0000 : 001 = commande READ RREG |  0 0000 = Adresse du registe ID 
                k_usleep(64);
		ADS1298_send_command(0x00); // OPCODE2 = number of register -1 = 0= 0x00
                k_usleep(64);
	        return ADS1298_read_data();  
}


bool ads1298_write_command(uint8_t val)
{	
	ADS1298_send_command(val);
	return true;	
}




//uint8_t ads1298_read_register(uint8_t reg)
//{
//		uint8_t val = 0;
//		ads1298_read_multiple_register(reg, &val, 1);
//		return val;
//}

//bool ads1298_read_multiple_register(uint8_t reg, uint8_t* val, uint8_t num)
//{
//		ADS1298_send_command(COMMAND_RREG | (reg & 0x1F));
//                k_usleep(64);
//		ADS1298_send_command((num - 1) & 0x1F);
//                k_usleep(64);
//		for(int i = 0; i < num; i++)
//			*(val + i) = ADS1298_read_data();
//    return true;
		
//}


bool ads1298_write_register(uint8_t reg, uint8_t val)
{
    ads1298_write_multiple_register(reg, &val, 1);
    return true;
}

bool ads1298_write_multiple_register(uint8_t reg, uint8_t* val, uint8_t num)
  {	
		ADS1298_send_command(ADS129X_CMD_WREG | (reg & 0x1F));
                k_usleep(64);
		ADS1298_send_command((num - 1) & 0x1F);
                k_usleep(64);
	
		for(int i = 0; i < num; i++)
                    {
                      ADS1298_send_command(*(val + i));
                      k_usleep(64);
                    }

		return true;	
  }
  
bool ADS1298_send_start() {
    return ADS1298_send_command(COMMAND_START);
}
bool ADS1298_send_stop() {
    return ADS1298_send_command(COMMAND_STOP);
}
bool ADS1298_send_read_continuous() {
    return ADS1298_send_command(COMMAND_RDATAC);
}

bool ADS1298_send_read_data() {
    return ADS1298_send_command(COMMAND_RDATA);
}

bool ADS1298_send_stop_read_continuous() {
    return ADS1298_send_command(COMMAND_SDATAC);
}

bool ADS1298_send_reset() {
    return ADS1298_send_command(COMMAND_RESET);
}

bool ADS1298_send_wakeup() {
    return ADS1298_send_command(COMMAND_WAKEUP);
}
```
